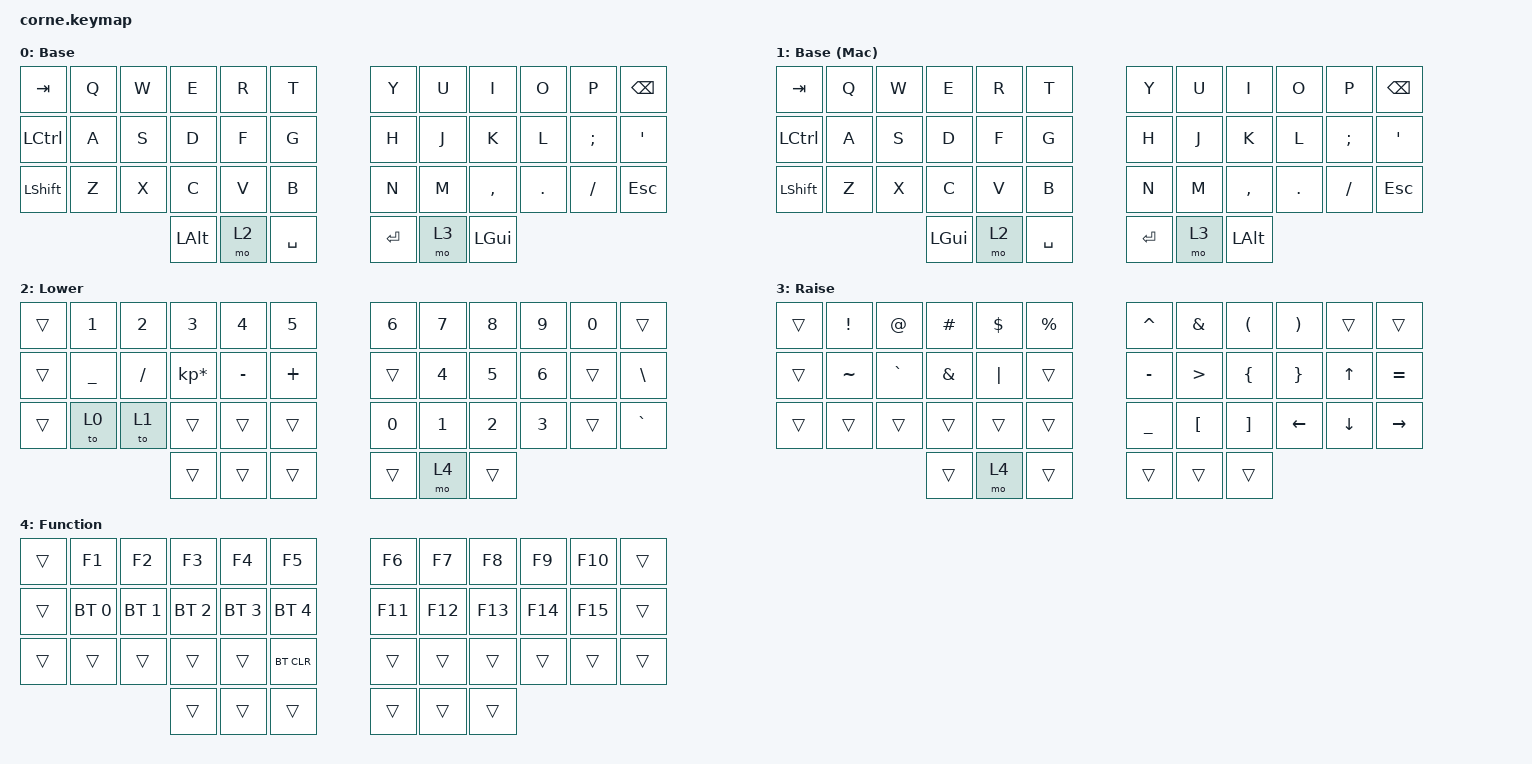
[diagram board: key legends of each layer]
/*
 * Copyright (c) 2020 The ZMK Contributors
 *
 * SPDX-License-Identifier: MIT
 */

#include <behaviors.dtsi>
#include <dt-bindings/zmk/keys.h>
#include <dt-bindings/zmk/bt.h>

/ {
        keymap {
                compatible = "zmk,keymap";

                default_layer {
// -----------------------------------------------------------------------------------------
// |  TAB |  Q  |  W  |  E  |  R  |  T  |   |  Y  |  U   |  I  |  O  |  P  | BKSP |
// | CTRL |  A  |  S  |  D  |  F  |  G  |   |  H  |  J   |  K  |  L  |  ;  |  '   |
// | SHFT |  Z  |  X  |  C  |  V  |  B  |   |  N  |  M   |  ,  |  .  |  /  | ESC  |
//                    | ALT | LWR | SPC |   | ENT | RSE  | GUI |
                        display-name = "Base";
                        bindings = <
   &kp TAB   &kp Q &kp W    &kp E &kp R       &kp T   &kp Y &kp U    &kp I     &kp O   &kp P    &kp BSPC
   &kp LCTRL &kp A &kp S    &kp D &kp F       &kp G   &kp H &kp J    &kp K     &kp L   &kp SEMI &kp SQT
   &kp LSHFT &kp Z &kp X    &kp C &kp V       &kp B   &kp N &kp M    &kp COMMA &kp DOT &kp FSLH &kp ESC
                   &kp LALT &mo 2 &kp SPACE   &kp RET &mo 3 &kp LGUI
                        >;
                };

                mac_layer {
// -----------------------------------------------------------------------------------------
// |  TAB |  Q  |  W  |  E  |  R  |  T  |   |  Y  |  U   |  I  |  O  |  P  | BKSP |
// | CTRL |  A  |  S  |  D  |  F  |  G  |   |  H  |  J   |  K  |  L  |  ;  |  '   |
// | SHFT |  Z  |  X  |  C  |  V  |  B  |   |  N  |  M   |  ,  |  .  |  /  | ESC  |
//                    | GUI | LWR | SPC |   | ENT | RSE  | LALT |
                        display-name = "Base (Mac)";
                        bindings = <
   &kp TAB   &kp Q &kp W &kp E &kp R &kp T   &kp Y &kp U   &kp I     &kp O   &kp P    &kp BSPC
   &kp LCTRL &kp A &kp S &kp D &kp F &kp G   &kp H &kp J   &kp K     &kp L   &kp SEMI &kp SQT
   &kp LSHFT &kp Z &kp X &kp C &kp V &kp B   &kp N &kp M   &kp COMMA &kp DOT &kp FSLH &kp ESC
                   &kp LGUI    &mo 2 &kp SPACE     &kp RET &mo 3     &kp LALT
                        >;
                };

                lower_layer {
// -----------------------------------------------------------------------------------------
// |     |  1  |  2  |  3  |  4  |  5  |   |  6  |  7  |  8  |  9  |  0  |     |
// |     |  _  |  /  |  *  |  -  |  +  |   |     |  4  |  5  |  6  |     |  \  |
// |     | REG | MAC |     |     |     |   |  0  |  1  |  2  |  3  |     |  `  |
//                   |     |     |     |   |     | FNK |     |
                        display-name = "Lower";
                        bindings = <
   &trans &kp N1         &kp N2   &kp N3          &kp N4    &kp N5         &kp N6  &kp N7 &kp N8 &kp N9 &kp N0 &trans
   &trans &kp UNDERSCORE &kp FSLH &kp KP_MULTIPLY &kp MINUS &kp PLUS       &trans  &kp N4 &kp N5 &kp N6 &trans &kp BSLH
   &trans &to 0          &to 1    &trans          &trans    &trans         &kp N0  &kp N1 &kp N2 &kp N3 &trans &kp GRAVE
                          	      &trans          &trans    &trans         &trans  &mo 4  &trans
                        >;
                };

                raise_layer {
// -----------------------------------------------------------------------------------------
// |    |  !  |  @  |  #  |  $  |  %  |   |  ^  |  &  |  (  |  )  |    |     |
// |    |  ~  |  `  |  &  |  |  |     |   |  -  |  >  |  {  |  }  | UP |  =  |
// |    |     |     |     |     |     |   |  _  |  [  |  ]  | LFT | DN | RGT |
//                  |     | FNK |     |   |     |     |     |
                        display-name = "Raise";
                        bindings = <
   &trans &kp EXCL  &kp AT    &kp HASH &kp DLLR &kp PRCNT   &kp CARET &kp AMPS  &kp LPAR &kp RPAR &trans   &trans
   &trans &kp TILDE &kp GRAVE &kp AMPS &kp PIPE &trans      &kp MINUS &kp GT    &kp LBRC &kp RBRC &kp UP   &kp EQUAL
   &trans &trans    &trans    &trans   &trans   &trans      &kp UNDER &kp LBKT  &kp RBKT &kp LEFT &kp DOWN &kp RIGHT
                    	      &trans   &mo 4    &trans      &trans    &trans    &trans
                        >;
                };

                function_layer {
// -----------------------------------------------------------------------------------------
// |    |  F1 |  F2 |  F3 |  F4 |  F5 |   |  F6 |  F7 |  F8 |  F9 | F10 |    |
// |    | BT1 | BT2 | BT3 | BT4 | BT5 |   | F11 | F12 | F13 | F14 | F15 |    |
// |    |     |     |     |     | CLR |   |     |     |     |     |     |    |
//                  |     |     |     |   |     |     |     |
                        display-name = "Function";
                        bindings = <
   &trans &kp F1       &kp F2       &kp F3       &kp F4       &kp F5         &kp F6  &kp F7  &kp F8  &kp F9  &kp F10 &trans
   &trans &bt BT_SEL 0 &bt BT_SEL 1 &bt BT_SEL 2 &bt BT_SEL 3 &bt BT_SEL 4   &kp F11 &kp F12 &kp F13 &kp F14 &kp F15 &trans
   &trans &trans       &trans       &trans       &trans       &bt BT_CLR     &trans  &trans  &trans  &trans  &trans  &trans
                          	        &trans       &trans       &trans         &trans  &trans  &trans
                        >;
                };
        };
};
